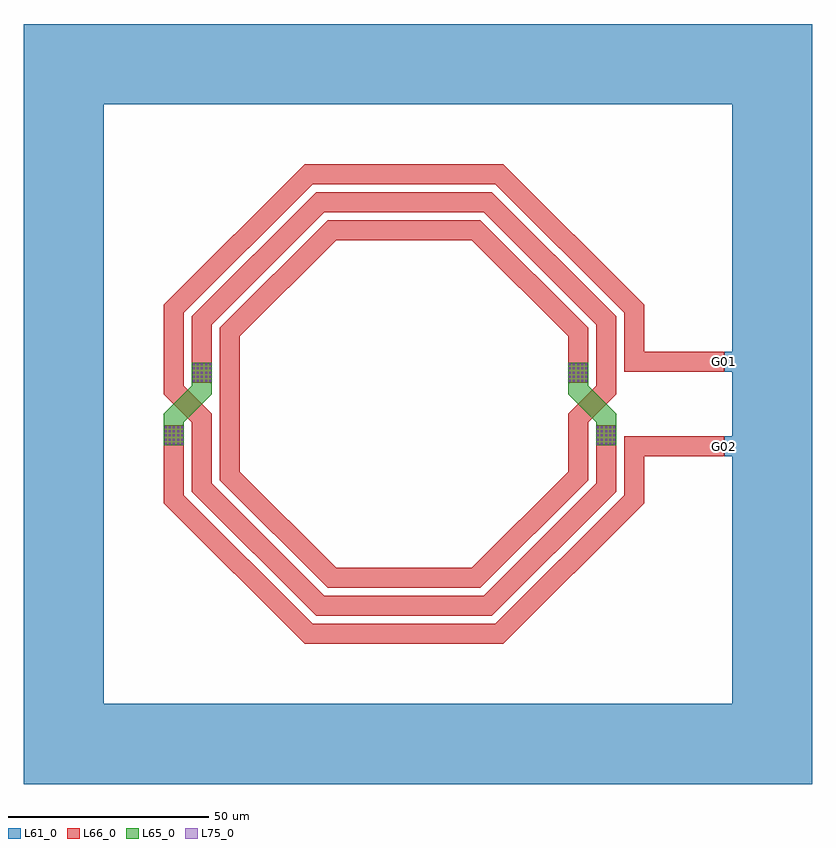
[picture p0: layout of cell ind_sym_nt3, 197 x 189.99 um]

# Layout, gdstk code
import gdstk
lib = gdstk.Library(unit=1e-6, precision=1e-09)
def R(c, l, rs):  # rectangles x0, y0, x1, y1
    for r in rs: c.add(gdstk.rectangle(r[:2], r[2:], *l))
def A(c, l, x, y, w, h, nx, ny, dx, dy):  # array of equal rectangles
    R(c, l, [(x+i*dx, y+j*dy, x+i*dx+w, y+j*dy+h) for i in range(nx) for j in range(ny)])
def P(c, l, *ps):  # polygons
    for p in ps: c.add(gdstk.Polygon(p, *l))
L61_0 = (61, 0)
L65_0 = (65, 0)
L66_0 = (66, 0)
L75_0 = (75, 0)

ind_sym_nt3 = lib.new_cell('ind_sym_nt3')
R(ind_sym_nt3, L61_0, [(-95,-94.995,-75,94.995), (-75,-94.995,82,-74.995), (82,-94.995,102,94.995), (80,-13,82,-8), (80,8,82,13), (-75,74.995,82,94.995)])
R(ind_sym_nt3, L65_0, [(-60,-10.37,-55,-5.37), (48,-10.37,53,-5.37), (-53,5.37,-48,10.37), (41,5.37,46,10.37)])
P(ind_sym_nt3, L65_0, [(48,-5.37),(48,-4.525),(41,2.475),(41,5.37),(46,5.37),(46,4.555),(53,-2.445),(53,-5.37)],
  [(-60,-5.37),(-60,-2.445),(-53,4.555),(-53,5.37),(-48,5.37),(-48,2.475),(-55,-4.525),(-55,-5.37)])
R(ind_sym_nt3, L66_0, [(60,-13,80,-8), (-60,-10.37,-55,-5.37), (-53,-10.37,-48,-5.37), (41,-10.37,46,-5.37), (48,-10.37,53,-5.37), (-60,5.37,-55,10.37), (-53,5.37,-48,10.37), (41,5.37,46,10.37), (48,5.37,53,10.37), (60,8,80,13)])
P(ind_sym_nt3, L66_0, [(48,5.37),(48,19.86),(19.875,47.985),(0,47.985),(0,52.985),(21.955,52.985),(53,21.94),(53,5.37)],
  [(-53,5.37),(-53,21.94),(-21.955,52.985),(0,52.985),(0,47.985),(-19.875,47.985),(-48,19.86),(-48,5.37)],
  [(0,-52.985),(0,-47.985),(19.875,-47.985),(48,-19.86),(48,-5.37),(53,-5.37),(53,-21.94),(21.955,-52.985)],
  [(-21.955,-52.985),(-53,-21.94),(-53,-5.37),(-48,-5.37),(-48,-19.86),(-19.875,-47.985),(0,-47.985),(0,-52.985)],
  [(41,-5.37),(41,-2.445),(48,4.555),(48,5.37),(53,5.37),(53,2.475),(46,-4.525),(46,-5.37)],
  [(-60,5.37),(-60,24.85),(-24.855,59.995),(0,59.995),(0,54.995),(-22.775,54.995),(-55,22.77),(-55,5.37)],
  [(55,8),(55,22.77),(22.775,54.995),(0,54.995),(0,59.995),(24.855,59.995),(60,24.85),(60,8)],
  [(-24.855,-59.995),(-60,-24.85),(-60,-5.37),(-55,-5.37),(-55,-22.77),(-22.775,-54.995),(0,-54.995),(0,-59.995)],
  [(0,-59.995),(0,-54.995),(22.775,-54.995),(55,-22.77),(55,-8),(60,-8),(60,-24.85),(24.855,-59.995)],
  [(-53,-5.37),(-53,-4.525),(-60,2.475),(-60,5.37),(-55,5.37),(-55,4.555),(-48,-2.445),(-48,-5.37)],
  [(-46,0),(-46,19.03),(-19.055,45.975),(0,45.975),(0,40.975),(-16.975,40.975),(-41,16.95),(-41,0)],
  [(41,5.37),(41,16.95),(16.975,40.975),(0,40.975),(0,45.975),(19.055,45.975),(46,19.03),(46,5.37)],
  [(-19.055,-45.975),(-46,-19.03),(-46,0),(-41,0),(-41,-16.95),(-16.975,-40.975),(0,-40.975),(0,-45.975)],
  [(0,-45.975),(0,-40.975),(16.975,-40.975),(41,-16.95),(41,-5.37),(46,-5.37),(46,-19.03),(19.055,-45.975)])
A(ind_sym_nt3, L75_0, -59.85, -10.22, 0.5, 0.5, 5, 5, 1.05, 1.05)
A(ind_sym_nt3, L75_0, 48.15, -10.22, 0.5, 0.5, 5, 5, 1.05, 1.05)
A(ind_sym_nt3, L75_0, -52.85, 5.52, 0.5, 0.5, 5, 5, 1.05, 1.05)
A(ind_sym_nt3, L75_0, 41.15, 5.52, 0.5, 0.5, 5, 5, 1.05, 1.05)
ind_sym_nt3.add(gdstk.Label('G01', (80,10.5), layer=61, texttype=2))
ind_sym_nt3.add(gdstk.Label('G02', (80,-10.5), layer=61, texttype=2))
ind_sym_nt3.add(gdstk.Label('P1', (80,10.5), layer=66, texttype=2))
ind_sym_nt3.add(gdstk.Label('N1', (80,-10.5), layer=66, texttype=2))

lib.write_gds('ind_sym_nt3.gds')
